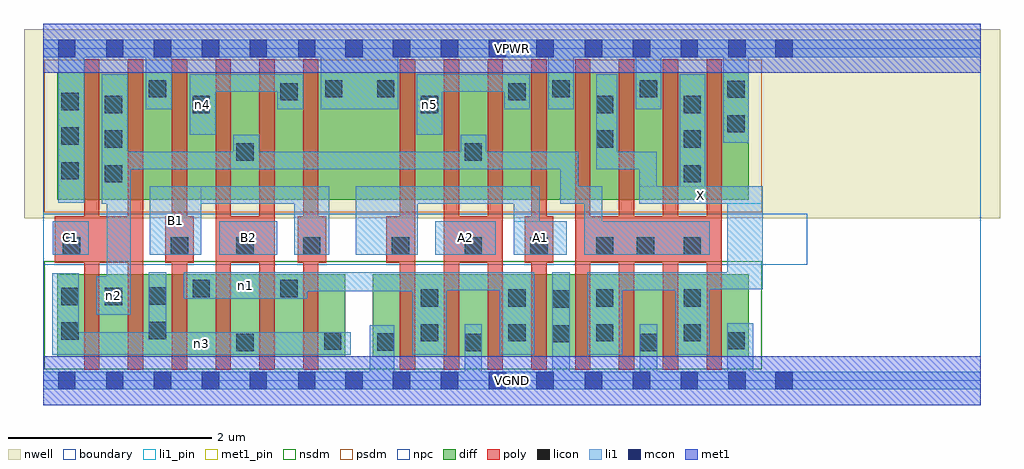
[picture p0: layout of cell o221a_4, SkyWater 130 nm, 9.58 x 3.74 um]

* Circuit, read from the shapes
.subckt o221a_4 A1 A2 B1 B2 C1 VGND VPWR X n1 n2 n3 n4 n5
XM1 n2 C1 n3 VSUBS sky130_fd_pr__nfet_01v8 w=0.81 l=0.15 m=2
XM2 n1 B1 n3 VSUBS sky130_fd_pr__nfet_01v8 w=0.81 l=0.15 m=2
XM3 n3 B2 n1 VSUBS sky130_fd_pr__nfet_01v8 w=0.81 l=0.15 m=2
XM4 n1 A1 VGND VSUBS sky130_fd_pr__nfet_01v8 w=0.81 l=0.15 m=2
XM5 VGND A2 n1 VSUBS sky130_fd_pr__nfet_01v8 w=0.81 l=0.15 m=2
XM6 X n2 VGND VSUBS sky130_fd_pr__nfet_01v8 w=0.81 l=0.15 m=4
XM7 n2 C1 VPWR n6 sky130_fd_pr__pfet_01v8 w=1.25 l=0.15 m=2
XM8 n4 B1 VPWR n6 sky130_fd_pr__pfet_01v8 w=1.25 l=0.15 m=2
XM9 n2 B2 n4 n6 sky130_fd_pr__pfet_01v8 w=1.25 l=0.15 m=2
XM10 n5 A1 VPWR n6 sky130_fd_pr__pfet_01v8 w=1.25 l=0.15 m=2
XM11 n2 A2 n5 n6 sky130_fd_pr__pfet_01v8 w=1.25 l=0.15 m=2
XM12 X n2 VPWR n6 sky130_fd_pr__pfet_01v8 w=1.25 l=0.15 m=4
.ends

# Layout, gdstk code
import gdstk
lib = gdstk.Library(unit=1e-6, precision=1e-09)
def R(c, l, rs):  # rectangles x0, y0, x1, y1
    for r in rs: c.add(gdstk.rectangle(r[:2], r[2:], *l))
def A(c, l, x, y, w, h, nx, ny, dx, dy):  # array of equal rectangles
    R(c, l, [(x+i*dx, y+j*dy, x+i*dx+w, y+j*dy+h) for i in range(nx) for j in range(ny)])
nwell = (64, 20)
diff = (65, 20)
poly = (66, 20)
licon = (66, 44)
li1_pin = (67, 16)
li1 = (67, 20)
mcon = (67, 44)
met1_pin = (68, 16)
met1 = (68, 20)
nsdm = (93, 44)
psdm = (94, 20)
npc = (95, 20)
boundary = (235, 4)

o221a_4 = lib.new_cell('o221a_4')
R(o221a_4, nwell, [(-0.19,1.595,9.39,3.45), (0,1.595,9.2,3.45)])
R(o221a_4, diff, [(0.135,0.235,2.965,1.045), (3.235,0.235,6.925,1.045), (0.135,1.775,6.925,3.025)])
A(o221a_4, poly, 0.4, 0.105, 0.15, 3.05, 6, 1, 0.43, 0)
A(o221a_4, poly, 3.5, 0.105, 0.15, 3.05, 8, 1, 0.43, 0)
R(o221a_4, poly, [(0.11,1.155,0.98,1.615), (1.195,1.155,1.475,1.615), (1.69,1.155,2.27,1.615), (2.495,1.155,2.775,1.615), (3.365,1.155,3.65,1.615), (3.93,1.155,4.51,1.615), (4.725,1.155,5.005,1.615), (5.22,1.155,6.66,1.615)])
A(o221a_4, licon, 3.705, 0.385, 0.17, 0.17, 4, 2, 0.86, 0.34)
A(o221a_4, licon, 4.135, 1.235, 0.17, 0.17, 3, 1, 0.645, 0)
A(o221a_4, licon, 0.605, 1.945, 0.17, 0.17, 1, 3, 0, 0.34)
A(o221a_4, licon, 6.285, 1.945, 0.17, 0.17, 1, 3, 0, 0.34)
A(o221a_4, licon, 0.175, 1.975, 0.17, 0.17, 1, 3, 0, 0.34)
R(o221a_4, licon, [(1.895,0.29,2.065,0.46), (4.135,0.29,4.305,0.46), (5.855,0.29,6.025,0.46), (3.275,0.295,3.445,0.465), (2.755,0.3,2.925,0.47), (6.715,0.305,6.885,0.475), (4.995,0.375,5.165,0.545), (0.175,0.4,0.345,0.57), (1.035,0.405,1.205,0.575), (4.995,0.715,5.165,0.885), (0.175,0.74,0.345,0.91), (0.605,0.74,0.775,0.91), (1.035,0.745,1.205,0.915), (1.465,0.82,1.635,0.99), (2.325,0.82,2.495,0.99), (0.19,1.235,0.36,1.405), (1.25,1.235,1.42,1.405), (1.895,1.235,2.065,1.405), (2.55,1.235,2.72,1.405), (3.42,1.235,3.59,1.405), (5.825,1.235,5.995,1.405), (6.285,1.235,6.455,1.405), (1.895,2.16,2.065,2.33), (4.135,2.16,4.305,2.33), (5.425,2.285,5.595,2.455), (6.715,2.435,6.885,2.605), (1.465,2.625,1.635,2.795), (3.705,2.625,3.875,2.795), (5.425,2.625,5.595,2.795), (2.325,2.75,2.495,2.92), (4.565,2.75,4.735,2.92), (6.715,2.775,6.885,2.945), (1.035,2.78,1.205,2.95), (2.765,2.78,2.935,2.95), (3.275,2.78,3.445,2.95), (4.995,2.78,5.165,2.95), (5.855,2.78,6.025,2.95)])
R(o221a_4, li1_pin, [(0.09,1.235,0.445,1.565), (1.045,1.235,1.55,1.905), (1.725,1.235,2.295,1.565), (3.845,1.235,4.44,1.565), (4.615,1.235,5.135,1.565), (5.85,1.735,7.06,1.905)])
A(o221a_4, li1, 3.62, 0.255, 0.34, 0.81, 4, 1, 0.86, 0)
R(o221a_4, li1, [(0,-0.085,9.2,0.085), (3.205,-0.085,3.445,0.545), (4.135,-0.085,4.305,0.555), (4.995,-0.085,5.165,1.065), (5.855,-0.085,6.025,0.555), (6.715,-0.085,6.97,0.565), (0.085,0.255,3.015,0.475), (0.085,0.255,0.345,1.055), (1.035,0.255,1.205,1.065), (0.52,0.645,0.86,1.025), (0.62,0.645,0.86,2.245), (1.38,0.805,2.59,1.065), (1.38,0.875,3.96,1.065), (1.38,0.885,4.82,1.065), (5.34,0.885,6.54,1.065), (5.34,0.895,7.06,1.065), (6.715,0.895,7.06,1.905), (0.09,1.235,0.445,1.565), (1.045,1.235,1.55,1.905), (1.725,1.235,2.295,1.565), (2.465,1.235,2.805,1.905), (3.065,1.235,3.675,1.905), (3.845,1.235,4.44,1.565), (4.615,1.235,5.135,1.565), (4.615,1.235,4.87,1.905), (5.31,1.235,6.54,1.565), (5.31,1.235,5.485,1.905), (0.575,1.735,0.83,3.005), (1.045,1.735,2.805,1.905), (3.065,1.735,4.87,1.905), (5.075,1.735,5.485,1.905), (5.075,1.735,5.25,2.245), (5.85,1.735,7.06,1.905), (5.85,1.735,6.02,2.245), (6.245,1.735,6.495,3.005), (0.145,1.745,0.4,3.345), (0.575,2.075,5.25,2.245), (1.865,2.075,2.12,2.415), (4.095,2.075,4.345,2.415), (5.425,2.075,5.635,3.005), (5.425,2.075,6.02,2.245), (6.675,2.335,6.925,3.345), (1.435,2.415,1.69,3.005), (3.665,2.415,3.915,3.005), (1.005,2.665,1.26,3.345), (2.295,2.665,2.55,3.005), (2.725,2.665,3.485,3.345), (4.525,2.665,4.775,3.005), (4.955,2.665,5.205,3.345), (5.815,2.665,6.065,3.345), (1.435,2.835,2.55,3.005), (3.665,2.835,4.775,3.005), (0,3.175,9.2,3.345)])
A(o221a_4, mcon, 0.145, -0.085, 0.17, 0.17, 5, 2, 0.47, 3.26)
A(o221a_4, mcon, 2.5, -0.085, 0.17, 0.17, 3, 2, 0.465, 3.26)
A(o221a_4, mcon, 3.9, -0.085, 0.17, 0.17, 3, 2, 0.47, 3.26)
A(o221a_4, mcon, 5.315, -0.085, 0.17, 0.17, 4, 2, 0.47, 3.26)
R(o221a_4, mcon, [(7.185,-0.085,7.355,0.085), (7.185,3.175,7.355,3.345)])
R(o221a_4, met1_pin, [(0,-0.24,9.2,0.24), (0,3.02,9.2,3.5)])
R(o221a_4, met1, [(0,-0.24,9.2,0.24), (0,3.02,9.2,3.5)])
R(o221a_4, nsdm, [(0.01,0.11,7.05,1.17)])
R(o221a_4, psdm, [(0.01,1.65,7.05,3.15)])
R(o221a_4, npc, [(0,1.135,7.5,1.635)])
R(o221a_4, boundary, [(0,0,9.2,3.26)])
o221a_4.add(gdstk.Label('A1', (4.875,1.4), layer=67, texttype=5))
o221a_4.add(gdstk.Label('A2', (4.142,1.4), layer=67, texttype=5))
o221a_4.add(gdstk.Label('B1', (1.297,1.57), layer=67, texttype=5))
o221a_4.add(gdstk.Label('B2', (2.01,1.4), layer=67, texttype=5))
o221a_4.add(gdstk.Label('C1', (0.267,1.4), layer=67, texttype=5))
o221a_4.add(gdstk.Label('X', (6.455,1.82), layer=67, texttype=5))
o221a_4.add(gdstk.Label('n3', (1.55,0.365), layer=67, texttype=5))
o221a_4.add(gdstk.Label('n1', (1.985,0.935), layer=67, texttype=5))
o221a_4.add(gdstk.Label('n2', (0.69,0.835), layer=67, texttype=5))
o221a_4.add(gdstk.Label('n4', (1.562,2.71), layer=67, texttype=5))
o221a_4.add(gdstk.Label('n5', (3.79,2.71), layer=67, texttype=5))
o221a_4.add(gdstk.Label('VPWR', (4.6,3.26), layer=68, texttype=5))
o221a_4.add(gdstk.Label('VGND', (4.6,0), layer=68, texttype=5))
o221a_4.add(gdstk.Label('A1', (4.875,1.4), layer=67, texttype=16))
o221a_4.add(gdstk.Label('A2', (4.142,1.4), layer=67, texttype=16))
o221a_4.add(gdstk.Label('B1', (1.297,1.57), layer=67, texttype=16))
o221a_4.add(gdstk.Label('B2', (2.01,1.4), layer=67, texttype=16))
o221a_4.add(gdstk.Label('C1', (0.267,1.4), layer=67, texttype=16))
o221a_4.add(gdstk.Label('X', (6.455,1.82), layer=67, texttype=16))
o221a_4.add(gdstk.Label('VPWR', (4.6,3.26), layer=68, texttype=16))
o221a_4.add(gdstk.Label('VGND', (4.6,0), layer=68, texttype=16))

lib.write_gds('o221a_4.gds')
